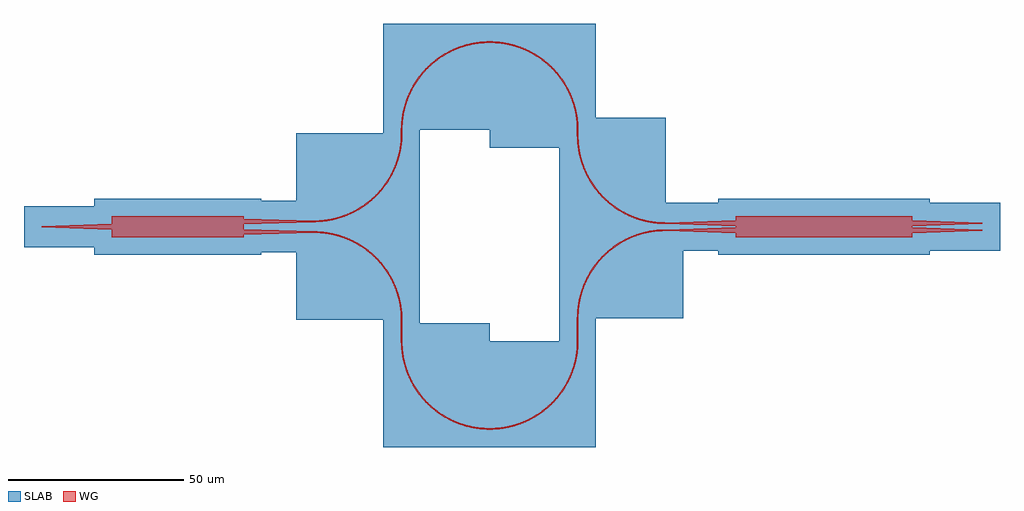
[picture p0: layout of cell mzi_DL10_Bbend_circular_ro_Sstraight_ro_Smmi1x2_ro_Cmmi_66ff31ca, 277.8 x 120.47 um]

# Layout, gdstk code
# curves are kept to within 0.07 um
from math import pi, radians
import gdstk
lib = gdstk.Library(unit=1e-6, precision=1e-09)
def R(c, l, rs):  # rectangles x0, y0, x1, y1
    for r in rs: c.add(gdstk.rectangle(r[:2], r[2:], *l))
def P(c, l, *ps):  # polygons
    for p in ps: c.add(gdstk.Polygon(p, *l))
WG = (3, 0)
SLAB = (5, 0)

mmi1x2_wnone_wt1p6_lt20_ = lib.new_cell('mmi1x2_WNone_WT1p6_LT20_LM37p5_WM6_GM1p47_CSxs_ro500')
P(mmi1x2_wnone_wt1p6_lt20_, WG, [(0,-3),(0,-0.8),(-20,-0.2),(-20,0.2),(0,0.8),(0,3),(37.5,3),(37.5,2.335),(57.5,1.735),(57.5,1.335),(37.5,0.735),(37.5,-0.735),(57.5,-1.335),(57.5,-1.735),(37.5,-2.335),(37.5,-3)])
P(mmi1x2_wnone_wt1p6_lt20_, SLAB, [(-5,-8),(-5,-5.8),(-25,-5.8),(-25,5.8),(-5,5.8),(-5,8),(42.5,8),(42.5,7.335),(62.5,7.335),(62.5,-7.335),(42.5,-7.335),(42.5,-8)])

bend_circular_rnone_a90_ = lib.new_cell('bend_circular_RNone_A90_WNone_CSxs_ro500')
P(bend_circular_rnone_a90_, WG, [(0,-0.2),(0,0.2),(2.509,0.327),(4.992,0.708),(7.424,1.337),(9.78,2.21),(11.815,3.195),(13.752,4.362),(15.575,5.7),(17.447,7.375),(18.98,9.037),(20.355,10.833),(21.561,12.745),(22.69,14.99),(23.586,17.336),(24.241,19.762),(24.673,22.491),(24.8,25),(25.2,25),(25.071,22.451),(24.684,19.927),(24.12,17.7),(23.257,15.297),(22.277,13.219),(20.971,11.026),(19.611,9.174),(17.909,7.271),(16.024,5.551),(13.974,4.029),(11.781,2.723),(9.703,1.743),(7.3,0.88),(5.073,0.316),(2.549,-0.071)])
R(bend_circular_rnone_a90_, SLAB, [(-5,-5.2,30.2,25)])

straight_l1_csxs_ro500 = lib.new_cell('straight_L1_CSxs_ro500')
R(straight_l1_csxs_ro500, WG, [(0,-0.2,1,0.2)])
R(straight_l1_csxs_ro500, SLAB, [(-5,-5.2,6,5.2)])

straight_l6_csxs_ro500 = lib.new_cell('straight_L6_CSxs_ro500')
R(straight_l6_csxs_ro500, WG, [(0,-0.2,6,0.2)])
R(straight_l6_csxs_ro500, SLAB, [(-5,-5.2,11,5.2)])

straight_l0p1_csxs_ro500 = lib.new_cell('straight_L0p1_CSxs_ro500')
R(straight_l0p1_csxs_ro500, WG, [(0,-0.2,0.1,0.2)])
R(straight_l0p1_csxs_ro500, SLAB, [(-5,-5.2,5.1,5.2)])

mmi2x2_wnone_wt1p6_lt20_ = lib.new_cell('mmi2x2_WNone_WT1p6_LT20_LM50p2_WM6_GM0p4_CSxs_ro500')
P(mmi2x2_wnone_wt1p6_lt20_, WG, [(0,-3),(0,-1.8),(-20,-1.2),(-20,-0.8),(0,-0.2),(0,0.2),(-20,0.8),(-20,1.2),(0,1.8),(0,3),(50.2,3),(50.2,1.8),(70.2,1.2),(70.2,0.8),(50.2,0.2),(50.2,-0.2),(70.2,-0.8),(70.2,-1.2),(50.2,-1.8),(50.2,-3)])
P(mmi2x2_wnone_wt1p6_lt20_, SLAB, [(-5,-8),(-5,-6.8),(-25,-6.8),(-25,6.8),(-5,6.8),(-5,8),(55.2,8),(55.2,6.8),(75.2,6.8),(75.2,-6.8),(55.2,-6.8),(55.2,-8)])

straight_l1p535000000000 = lib.new_cell('straight_L1p5350000000000001_CSxs_ro500')
R(straight_l1p535000000000, WG, [(0,-0.2,1.535,0.2)])
R(straight_l1p535000000000, SLAB, [(-5,-5.2,6.535,5.2)])

straight_l6p535_csxs_ro5 = lib.new_cell('straight_L6p535_CSxs_ro500')
R(straight_l6p535_csxs_ro5, WG, [(0,-0.2,6.535,0.2)])
R(straight_l6p535_csxs_ro5, SLAB, [(-5,-5.2,11.535,5.2)])

mzi_dl10_bbend_circular_ = lib.new_cell('mzi_DL10_Bbend_circular_ro_Sstraight_ro_Smmi1x2_ro_Cmmi_66ff31ca')
mzi_dl10_bbend_circular_.add(gdstk.Reference(mmi1x2_wnone_wt1p6_lt20_, (0,0)))
mzi_dl10_bbend_circular_.add(gdstk.Reference(bend_circular_rnone_a90_, (57.5,-1.535), x_reflection=True))
mzi_dl10_bbend_circular_.add(gdstk.Reference(bend_circular_rnone_a90_, (82.5,-32.535), rotation=3*pi/2))
mzi_dl10_bbend_circular_.add(gdstk.Reference(bend_circular_rnone_a90_, (57.5,1.535)))
mzi_dl10_bbend_circular_.add(gdstk.Reference(bend_circular_rnone_a90_, (107.5,52.535), rotation=pi))
mzi_dl10_bbend_circular_.add(gdstk.Reference(bend_circular_rnone_a90_, (132.6,27.535), rotation=pi/2))
mzi_dl10_bbend_circular_.add(gdstk.Reference(bend_circular_rnone_a90_, (132.6,26), rotation=3*pi/2))
mzi_dl10_bbend_circular_.add(gdstk.Reference(bend_circular_rnone_a90_, (107.6,-57.535)))
mzi_dl10_bbend_circular_.add(gdstk.Reference(bend_circular_rnone_a90_, (157.6,-1), rotation=pi))
mzi_dl10_bbend_circular_.add(gdstk.Reference(straight_l1_csxs_ro500, (82.5,26.535), rotation=pi/2))
mzi_dl10_bbend_circular_.add(gdstk.Reference(straight_l6_csxs_ro500, (82.5,-26.535), rotation=3*pi/2))
mzi_dl10_bbend_circular_.add(gdstk.Reference(straight_l0p1_csxs_ro500, (107.5,52.535)))
mzi_dl10_bbend_circular_.add(gdstk.Reference(straight_l0p1_csxs_ro500, (107.5,-57.535)))
mzi_dl10_bbend_circular_.add(gdstk.Reference(mmi2x2_wnone_wt1p6_lt20_, (227.8,0), rotation=pi, x_reflection=True))
mzi_dl10_bbend_circular_.add(gdstk.Reference(straight_l1p535000000000, (132.6,26), rotation=pi/2))
mzi_dl10_bbend_circular_.add(gdstk.Reference(straight_l6p535_csxs_ro5, (132.6,-32.535), rotation=pi/2))

lib.write_gds('mzi_DL10_Bbend_circular_ro_Sstraight_ro_Smmi1x2_ro_Cmmi_66ff31ca.gds')
